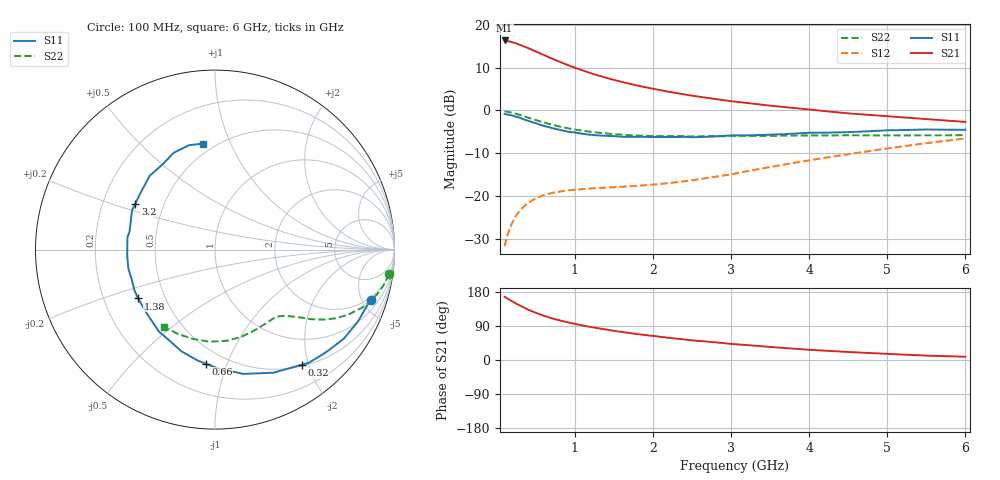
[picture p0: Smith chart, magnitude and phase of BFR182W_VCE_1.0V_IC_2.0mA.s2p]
! Infineon Technologies  Discrete & RF Semiconductors
! BFR182W
! VCE =  1.0 V,  IC =  2.0 mA
! Common Emitter S-Parameters:  Nov 2015
# GHz  S  MA  R  50
!  f  S11  S21  S12  S22
! GHz  MAG  ANG  MAG  ANG  MAG  ANG  MAG  ANG
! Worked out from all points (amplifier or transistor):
!   192 points, 100 MHz to 6 GHz, reference 50 ohm
!   highest |S21| = 16.3 dB at 100 MHz (marker M1)
!   |S21| within 3 dB of that: start of sweep to 552.5 MHz
!   unconditionally stable (mu >= 1): 1.765 GHz to 3.363 GHz
!   at 440 MHz: K = 0.30, MSG = 17.7 dB, |S12| = -21.1 dB
!   at 1.7 GHz: K = 0.98, MSG = 12.0 dB, |S12| = -17.7 dB
!   at 6 GHz: K = 0.83, MSG = 1.9 dB, |S12| = -6.5 dB
!   S11 on the Smith chart (normalised r, x): 100 MHz: 1.81, -5.84; 320 MHz: 0.52, -1.89; 660 MHz: 0.39, -0.84; 1.38 GHz: 0.35, -0.26; 3.2 GHz: 0.34, +0.24; 6 GHz: 0.43, +0.79
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0.1  0.91 -17.8  6.547 166.9  0.0261 80.0  0.9783 -8.0
0.15  0.8922 -26.5  6.412 160.4  0.0384 75.0  0.9616 -11.7
0.2  0.8724 -34.7  6.255 154.4  0.0494 70.9  0.9387 -15.2
0.26  0.8369 -44.3  5.999 147.5  0.0617 65.6  0.9059 -19.0
0.32  0.803 -53.1  5.707 141.3  0.0717 61.2  0.8717 -22.2
0.4  0.7593 -64.6  5.345 132.9  0.0834 56.2  0.8253 -26.1
0.5  0.7102 -77.2  4.871 124.4  0.0945 50.9  0.7714 -29.8
0.6  0.6612 -88.8  4.44 116.9  0.103 47.0  0.7234 -32.6
0.66  0.6373 -94.7  4.192 113.0  0.1064 45.2  0.6995 -33.8
0.8  0.5969 -108.2  3.706 104.6  0.1132 41.7  0.6496 -36.5
0.9  0.5666 -116.4  3.396 99.6  0.1169 40.3  0.6216 -37.7
1.1  0.5333 -130.7  2.927 91.3  0.1211 38.8  0.5802 -40.2
1.2  0.5201 -137.4  2.719 87.0  0.1231 38.3  0.5622 -41.4
1.38  0.5074 -147.6  2.43 80.9  0.1256 38.6  0.5403 -43.1
1.66  0.4926 -161.4  2.088 72.3  0.1297 40.7  0.5169 -45.9
2.08  0.4894 -178.2  1.73 61.5  0.1383 45.8  0.5014 -51.0
2.5  0.4865 168.3  1.484 51.8  0.1532 51.5  0.4991 -56.4
3.1  0.5114 152.4  1.251 41.0  0.1871 57.9  0.5017 -66.2
3.2  0.5125 150.0  1.221 39.5  0.1949 58.6  0.5024 -68.0
4.1  0.5496 129.5  1.002 25.8  0.2708 60.5  0.5111 -85.0
5.1  0.5879 111.3  0.844 15.1  0.3706 56.2  0.5113 -105.9
6  0.5944 96.7  0.734 8.6  0.471 49.1  0.5157 -123.3
